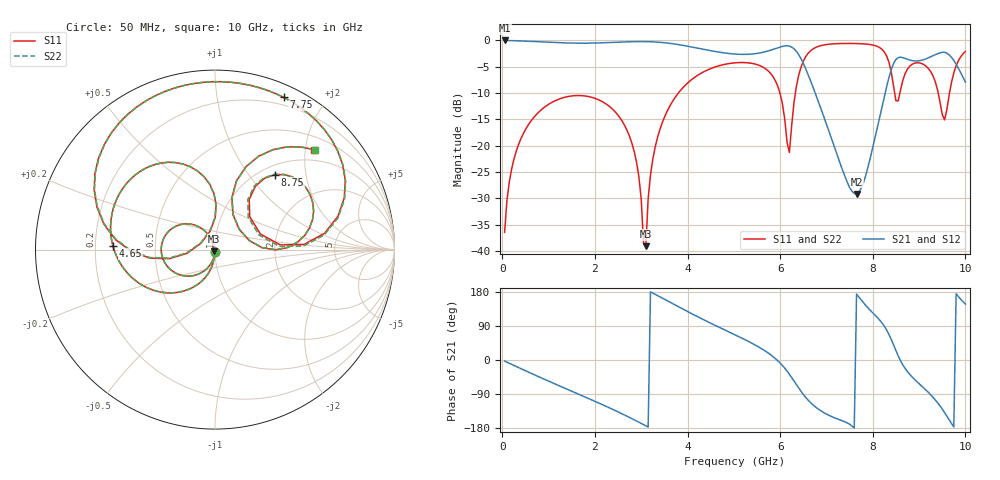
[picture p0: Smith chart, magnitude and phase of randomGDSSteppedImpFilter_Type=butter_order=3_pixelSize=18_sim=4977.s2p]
! freq	dB(S11)	phase(S11)	dB(S12)	phase(S12)
!  dB(S21)	phase(S21)	dB(S22)	phase(S22)
!S-par simulation data
#  GHz  S  DB  R 50
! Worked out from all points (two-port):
!   200 points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, 50 MHz to 10 GHz, reference 50 ohm
!   highest |S21| = 0.00 dB at 50 MHz (marker M1); lowest = -29.2 dB at 7.65 GHz (marker M2)
!   |S21| within 3 dB of the highest: start of sweep to 6.42 GHz; 9.275 GHz to 9.678 GHz (402.1 MHz wide, 4.24 % of centre)
!   lowest |S11| = -39.1 dB at 3.1 GHz (marker M3), VSWR 1.02, Z = 49.6 - j1.03 ohm
!   |S11| at or under -10 dB: start of sweep to 3.802 GHz; 5.995 GHz to 6.329 GHz (333.8 MHz wide, 5.42 % of centre); 9.413 GHz to 9.657 GHz (244.5 MHz wide, 2.56 % of centre) (the widest 3 of 4)
!   |S22| runs from -38.9 to -0.6 dB; largest |S21 - S12| = 0
!   S11 on the Smith chart (normalised r, x): 50 MHz: 1.00, -0.03; 4.65 GHz: 0.27, +0.02; 7.75 GHz: 0.12, +1.54; 8.75 GHz: 1.16, +1.35; 10 GHz: 0.75, +2.19
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0.05  -36.48 -92.7  -0.00 -2.9  -0.00 -2.9  -36.48 -92.7
0.2  -24.52 -101.7  -0.04 -11.5  -0.04 -11.5  -24.52 -101.7
0.5  -16.95 -118.9  -0.13 -28.3  -0.13 -28.3  -16.95 -118.9
1.75  -10.52 174.0  -0.52 -95.5  -0.52 -95.5  -10.52 174.0
2.7  -17.22 122.0  -0.27 -148.8  -0.27 -148.8  -17.22 122.2
3.1  -39.11 -110.0  -0.23 -173.7  -0.23 -173.7  -38.93 -112.6
3.2  -25.56 -96.2  -0.25 179.8  -0.25 179.8  -25.55 -96.9
3.4  -17.01 -106.0  -0.35 166.8  -0.35 166.8  -17.01 -106.3
4.65  -4.89 177.9  -2.18 88.3  -2.18 88.3  -4.89 177.8
5.05  -4.24 155.1  -2.60 65.0  -2.60 65.0  -4.24 155.0
5.85  -6.94 102.7  -1.69 8.6  -1.69 8.6  -6.94 102.7
6.2  -21.30 156.3  -1.09 -37.7  -1.09 -37.7  -21.07 155.7
6.4  -6.63 -178.7  -2.69 -73.8  -2.69 -73.8  -6.63 -179.1
6.7  -1.67 141.9  -8.66 -117.5  -8.66 -117.5  -1.67 141.6
7.65  -0.59 72.2  -29.20 173.9  -29.20 173.9  -0.59 71.9
7.75  -0.62 65.8  -28.07 158.7  -28.07 158.7  -0.63 65.4
8.35  -4.19 8.5  -7.04 67.3  -7.04 67.3  -4.24 7.6
8.5  -11.47 19.0  -3.61 24.6  -3.61 24.6  -11.77 18.4
8.75  -5.43 51.3  -3.60 -30.7  -3.60 -30.7  -5.45 51.8
9.4  -9.45 -0.3  -2.53 -112.9  -2.53 -112.9  -9.41 -0.0
9.55  -15.11 39.9  -2.25 -138.8  -2.25 -138.8  -15.05 39.8
10  -2.10 45.2  -7.91 147.8  -7.91 147.8  -2.10 45.0
